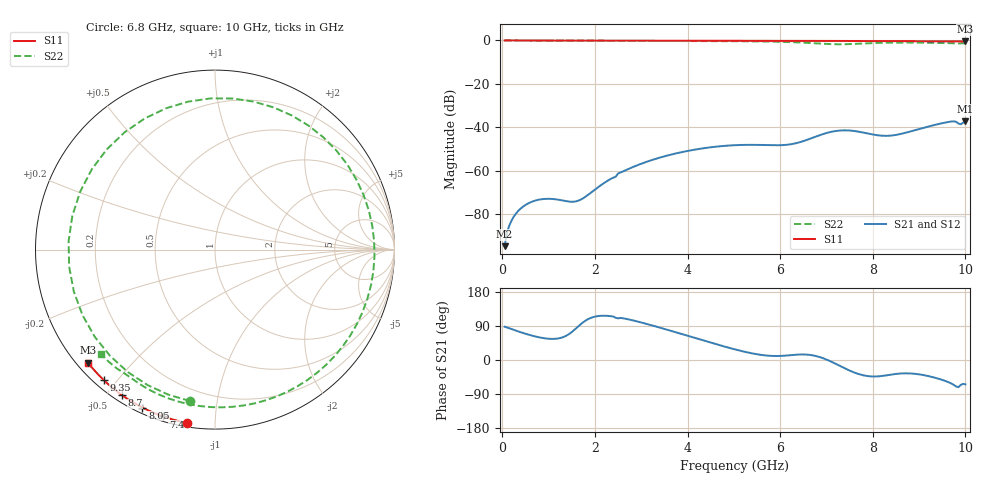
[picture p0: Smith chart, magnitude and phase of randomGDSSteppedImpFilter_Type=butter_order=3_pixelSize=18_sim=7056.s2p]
! freq	dB(S11)	phase(S11)	dB(S12)	phase(S12)
!  dB(S21)	phase(S21)	dB(S22)	phase(S22)
!S-par simulation data
#  GHz  S  DB  R 50
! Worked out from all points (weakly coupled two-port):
!   200 points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, 50 MHz to 10 GHz, reference 50 ohm
!   highest |S21| = -37.24 dB at 10 GHz (marker M1); lowest = -94.8 dB at 50 MHz (marker M2)
!   lowest |S11| = -0.5 dB at 10 GHz (marker M3), VSWR 37.43, Z = 1.53 - j19 ohm
!   |S11| at or under -10 dB: nowhere
!   |S22| runs from -1.8 to 0.0 dB; largest |S21 - S12| = 0
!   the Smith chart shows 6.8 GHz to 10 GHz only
!   S11 on the Smith chart (normalised r, x): 6.8 GHz: 0.02, -0.85; 7.45 GHz: 0.02, -0.74; 8.05 GHz: 0.02, -0.64; 8.7 GHz: 0.02, -0.55; 9.35 GHz: 0.03, -0.46; 10 GHz: 0.03, -0.38
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0.05  -0.00 -0.8  -94.81 88.0  -94.81 88.0  -0.00 -3.6
0.9  -0.02 -14.3  -73.05 57.5  -73.05 57.5  -0.08 -61.9
1.75  -0.04 -27.6  -72.68 99.8  -72.68 99.8  -0.12 -112.8
2.6  -0.05 -40.6  -60.42 110.2  -60.42 110.2  -0.15 -156.7
3.4  -0.07 -52.5  -54.01 85.5  -54.01 85.5  -0.19 164.8
4.35  -0.09 -66.2  -49.67 51.2  -49.67 51.2  -0.25 116.9
5.05  -0.12 -75.9  -48.24 27.2  -48.24 27.2  -0.34 75.7
5.55  -0.14 -82.7  -48.14 14.2  -48.14 14.2  -0.45 40.4
6.05  -0.16 -89.3  -48.23 11.0  -48.23 11.0  -0.65 -3.3
6.35  -0.17 -93.2  -47.33 14.0  -47.33 14.0  -0.87 -35.9
6.7  -0.19 -97.7  -44.87 12.4  -44.87 12.4  -1.24 -83.5
6.8  -0.20 -99.0  -44.08 9.6  -44.08 9.6  -1.36 -99.4
6.95  -0.20 -100.9  -42.98 3.6  -42.98 3.6  -1.54 -125.4
7.15  -0.22 -103.5  -41.91 -7.1  -41.91 -7.1  -1.72 -163.4
7.3  -0.23 -105.4  -41.49 -16.2  -41.49 -16.2  -1.76 166.7
7.45  -0.24 -107.2  -41.45 -25.1  -41.45 -25.1  -1.70 137.1
7.75  -0.26 -111.0  -42.26 -39.0  -42.26 -39.0  -1.44 83.4
8.05  -0.28 -114.7  -43.52 -43.5  -43.52 -43.5  -1.18 39.2
8.35  -0.30 -118.4  -43.92 -39.4  -43.92 -39.4  -1.03 3.0
8.7  -0.33 -122.6  -42.59 -35.2  -42.59 -35.2  -0.98 -32.4
9.35  -0.40 -130.5  -38.86 -47.0  -38.86 -47.0  -1.11 -87.7
10  -0.46 -138.3  -37.24 -64.2  -37.24 -64.2  -1.31 -137.7
